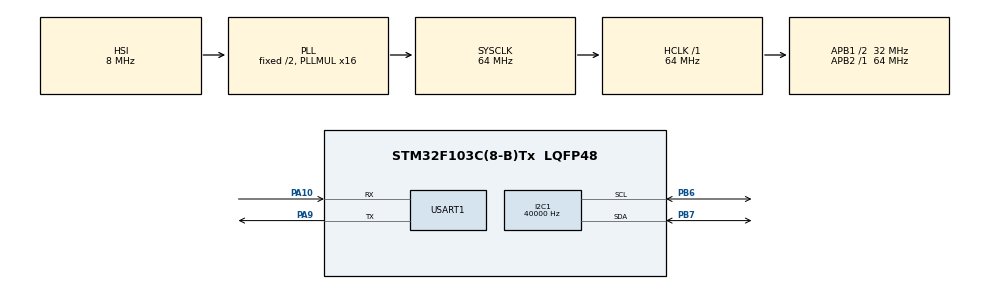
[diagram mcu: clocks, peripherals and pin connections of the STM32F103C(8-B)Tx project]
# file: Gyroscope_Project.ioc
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I2C1.ClockSpeed=40000
Mcu.Family=STM32F1
Mcu.Name=STM32F103C(8-B)Tx
Mcu.Package=LQFP48
NVIC.PriorityGroup=NVIC_PRIORITYGROUP_4
NVIC.TIM3_IRQn=true\:0\:0\:false\:false\:true\:true\:true\:true
NVIC.TIM4_IRQn=true\:0\:0\:false\:false\:true\:true\:true\:true
PA10.Mode=Asynchronous
PA10.Signal=USART1_RX
PA13.Mode=Serial_Wire
PA13.Signal=SYS_JTMS-SWDIO
PA14.Mode=Serial_Wire
PA14.Signal=SYS_JTCK-SWCLK
PA9.Mode=Asynchronous
PA9.Signal=USART1_TX
PB6.Mode=I2C
PB6.Signal=I2C1_SCL
PB7.Mode=I2C
PB7.Signal=I2C1_SDA
ProjectManager.HeapSize=0x200
ProjectManager.StackSize=0x400
ProjectManager.TargetToolchain=STM32CubeIDE
RCC.AHBFreq_Value=64000000
RCC.APB1CLKDivider=RCC_HCLK_DIV2
RCC.APB1Freq_Value=32000000
RCC.APB1TimFreq_Value=64000000
RCC.APB2Freq_Value=64000000
RCC.APB2TimFreq_Value=64000000
RCC.HCLKFreq_Value=64000000
RCC.PLLMUL=RCC_PLL_MUL16
RCC.SYSCLKFreq_VALUE=64000000
RCC.SYSCLKSource=RCC_SYSCLKSOURCE_PLLCLK
RCC.USBFreq_Value=64000000
TIM3.Period=1000-1
TIM3.Prescaler=64-1
TIM4.Period=1000-1
TIM4.Prescaler=64-1
USART1.VirtualMode=VM_ASYNC
VP_TIM3_VS_ClockSourceINT.Mode=Internal
VP_TIM4_VS_ClockSourceINT.Mode=Internal
board=custom

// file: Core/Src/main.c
/* USER CODE BEGIN Header */
/**
  ******************************************************************************
  * @file           : main.c
  * @brief          : Main program body
  ******************************************************************************
  * @attention
  *
  * Copyright (c) 2026 STMicroelectronics.
  * All rights reserved.
  *
  * This software is licensed under terms that can be found in the LICENSE file
  * in the root directory of this software component.
  * If no LICENSE file comes with this software, it is provided AS-IS.
  *
  ******************************************************************************
  */
/* USER CODE END Header */
#include "main.h"
#include "i2c.h"
#include "tim.h"
#include "usart.h"
#include "gpio.h"

/* USER CODE BEGIN PV */

uint8_t sensor_found = 0;
uint8_t sensor_address = 0;

uint8_t WHO_AM_I;
uint8_t Data[2];

int16_t Gyro_Z;

float GyroRate_Z;

/* USER CODE END PV */

void SystemClock_Config(void);

int main(void)
{

  /* MCU Configuration--------------------------------------------------------*/

  /* Reset of all peripherals, Initializes the Flash interface and the Systick. */
  HAL_Init();

  /* Configure the system clock */
  SystemClock_Config();

  /* Initialize all configured peripherals */
  MX_GPIO_Init();
  MX_I2C1_Init();
  MX_USART1_UART_Init();
  MX_TIM3_Init();
  MX_TIM4_Init();
  /* USER CODE BEGIN 2 */

  if (HAL_I2C_IsDeviceReady(&hi2c1, (0x68 << 1), 3, 100) == HAL_OK)
  {
      sensor_found = 1;
      sensor_address = 0x68;
  }
  else if (HAL_I2C_IsDeviceReady(&hi2c1, (0x69 << 1), 3, 100) == HAL_OK)
  {
      sensor_found = 1;
      sensor_address = 0x69;
  }

  /* USER CODE END 2 */

  /* Infinite loop */
  /* USER CODE BEGIN WHILE */
  TimerInit();
  while (1)
  {
//	  if (Tick == 1000) {
//		  Tick = 0;

		  if (HAL_I2C_Mem_Read(&hi2c1, (sensor_address << 1), 0x47,
		  	                       I2C_MEMADD_SIZE_8BIT,
		  	                       Data, 2, 100) != HAL_OK)
		  	  {
		  	      Error_Handler();

		  	  }

	  	    Gyro_Z = (int16_t)(((uint16_t)Data[0] << 8) | Data[1]);

		  GyroRate_Z = Gyro_Z / 131.0f;
		  HAL_Delay(100);
	  //}

    /* USER CODE END WHILE */

  }
}

void SystemClock_Config(void)
{
  RCC_OscInitTypeDef RCC_OscInitStruct = {0};
  RCC_ClkInitTypeDef RCC_ClkInitStruct = {0};

  /** Initializes the RCC Oscillators according to the specified parameters
  * in the RCC_OscInitTypeDef structure.
  */
  RCC_OscInitStruct.OscillatorType = RCC_OSCILLATORTYPE_HSI;
  RCC_OscInitStruct.HSIState = RCC_HSI_ON;
  RCC_OscInitStruct.HSICalibrationValue = RCC_HSICALIBRATION_DEFAULT;
  RCC_OscInitStruct.PLL.PLLState = RCC_PLL_ON;
  RCC_OscInitStruct.PLL.PLLSource = RCC_PLLSOURCE_HSI_DIV2;
  RCC_OscInitStruct.PLL.PLLMUL = RCC_PLL_MUL16;
  if (HAL_RCC_OscConfig(&RCC_OscInitStruct) != HAL_OK)
  {
    Error_Handler();
  }

  /** Initializes the CPU, AHB and APB buses clocks
  */
  RCC_ClkInitStruct.ClockType = RCC_CLOCKTYPE_HCLK|RCC_CLOCKTYPE_SYSCLK
                              |RCC_CLOCKTYPE_PCLK1|RCC_CLOCKTYPE_PCLK2;
  RCC_ClkInitStruct.SYSCLKSource = RCC_SYSCLKSOURCE_PLLCLK;
  RCC_ClkInitStruct.AHBCLKDivider = RCC_SYSCLK_DIV1;
  RCC_ClkInitStruct.APB1CLKDivider = RCC_HCLK_DIV2;
  RCC_ClkInitStruct.APB2CLKDivider = RCC_HCLK_DIV1;

  if (HAL_RCC_ClockConfig(&RCC_ClkInitStruct, FLASH_LATENCY_2) != HAL_OK)
  {
    Error_Handler();
  }
}

void Error_Handler(void)
{
  __disable_irq();
  while (1)
  {
  }
}
